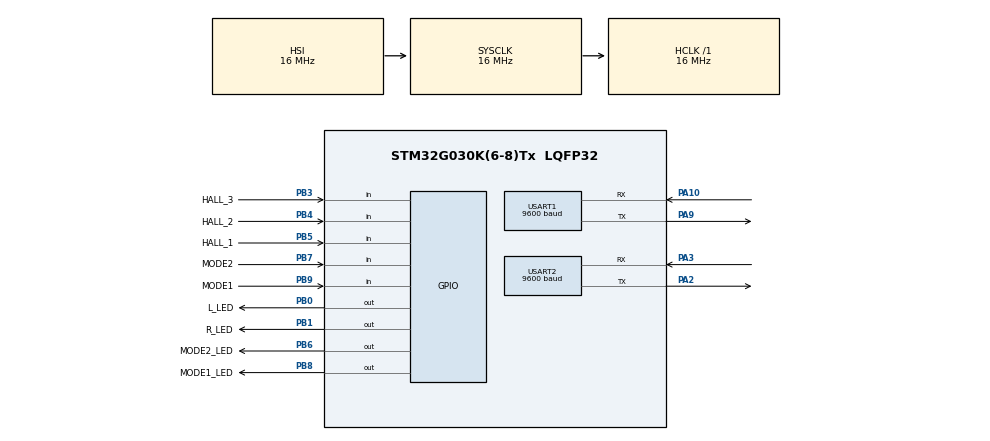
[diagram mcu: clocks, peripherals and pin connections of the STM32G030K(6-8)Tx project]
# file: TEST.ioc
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Mcu.Family=STM32G0
Mcu.Name=STM32G030K(6-8)Tx
Mcu.Package=LQFP32
NVIC.USART1_IRQn=true\:0\:0\:false\:false\:true\:true\:true\:true
NVIC.USART2_IRQn=true\:0\:0\:false\:false\:true\:true\:true\:true
PA10.Mode=Asynchronous
PA10.Signal=USART1_RX
PA13.Mode=Serial_Wire
PA13.Signal=SYS_SWDIO
PA14-BOOT0.Mode=Serial_Wire
PA14-BOOT0.Signal=SYS_SWCLK
PA2.Mode=Asynchronous
PA2.Signal=USART2_TX
PA3.Mode=Asynchronous
PA3.Signal=USART2_RX
PA9.Mode=Asynchronous
PA9.Signal=USART1_TX
PB0.GPIO_Label=L_LED
PB0.GPIO_PuPd=GPIO_NOPULL
PB0.Signal=GPIO_Output
PB1.GPIO_Label=R_LED
PB1.GPIO_PuPd=GPIO_PULLUP
PB1.Signal=GPIO_Output
PB3.GPIO_Label=HALL_3
PB3.GPIO_PuPd=GPIO_NOPULL
PB3.Signal=GPIO_Input
PB4.GPIO_Label=HALL_2
PB4.GPIO_PuPd=GPIO_NOPULL
PB4.Signal=GPIO_Input
PB5.GPIO_Label=HALL_1
PB5.GPIO_PuPd=GPIO_NOPULL
PB5.Signal=GPIO_Input
PB6.GPIO_Label=MODE2_LED
PB6.PinState=GPIO_PIN_RESET
PB6.Signal=GPIO_Output
PB7.GPIO_Label=MODE2
PB7.GPIO_PuPd=GPIO_PULLUP
PB7.Signal=GPIO_Input
PB8.GPIO_Label=MODE1_LED
PB8.GPIO_PuPd=GPIO_NOPULL
PB8.Signal=GPIO_Output
PB9.GPIO_Label=MODE1
PB9.GPIO_PuPd=GPIO_PULLUP
PB9.Signal=GPIO_Input
PC14-OSC32_IN\ (PC14).Mode=LSE-External-Oscillator
PC14-OSC32_IN\ (PC14).Signal=RCC_OSC32_IN
PC15-OSC32_OUT\ (PC15).Mode=LSE-External-Oscillator
PC15-OSC32_OUT\ (PC15).Signal=RCC_OSC32_OUT
ProjectManager.HeapSize=0x200
ProjectManager.StackSize=0x400
ProjectManager.TargetToolchain=STM32CubeIDE
RCC.AHBFreq_Value=16000000
RCC.CortexFreq_Value=16000000
RCC.EXTERNAL_CLOCK_VALUE=12288000
RCC.HCLKFreq_Value=16000000
RCC.HSE_VALUE=8000000
RCC.HSI_VALUE=16000000
RCC.SYSCLKFreq_VALUE=16000000
RCC.VCOOutputFreq_Value=128000000
USART1.BaudRate=9600
USART1.VirtualMode-Asynchronous=VM_ASYNC
USART2.BaudRate=9600
USART2.VirtualMode-Asynchronous=VM_ASYNC
board=custom

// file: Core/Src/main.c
/* USER CODE BEGIN Header */
/**
  ******************************************************************************
  * @file           : main.c
  * @brief          : Main program body
  ******************************************************************************
  * @attention
  *
  * Copyright (c) 2024 STMicroelectronics.
  * All rights reserved.
  *
  * This software is licensed under terms that can be found in the LICENSE file
  * in the root directory of this software component.
  * If no LICENSE file comes with this software, it is provided AS-IS.
  *
  ******************************************************************************
  */
/* USER CODE END Header */
#include "main.h"

/* USER CODE BEGIN PD */
#define MODE_1 HAL_GPIO_ReadPin(GPIOB,GPIO_PIN_9)
#define MODE_2 HAL_GPIO_ReadPin(GPIOB,GPIO_PIN_7)

#define HALL_1 HAL_GPIO_ReadPin(GPIOB,GPIO_PIN_5)
#define HALL_2 HAL_GPIO_ReadPin(GPIOB,GPIO_PIN_4)
#define HALL_3 HAL_GPIO_ReadPin(GPIOB,GPIO_PIN_3)

#define SET_LED_MODE1 HAL_GPIO_WritePin(GPIOB,GPIO_PIN_8,GPIO_PIN_RESET)
#define RESET_LED_MODE1 HAL_GPIO_WritePin(GPIOB,GPIO_PIN_8,GPIO_PIN_SET)

#define SET_LED_MODE2 HAL_GPIO_WritePin(GPIOB,GPIO_PIN_6,GPIO_PIN_RESET)
#define RESET_LED_MODE2 HAL_GPIO_WritePin(GPIOB,GPIO_PIN_6,GPIO_PIN_SET)

#define SET_LED_LEFT HAL_GPIO_WritePin(GPIOB,GPIO_PIN_0,GPIO_PIN_RESET)
#define RESET_LED_LEFT HAL_GPIO_WritePin(GPIOB,GPIO_PIN_0,GPIO_PIN_SET)

#define SET_LED_RIGHT HAL_GPIO_WritePin(GPIOB,GPIO_PIN_1,GPIO_PIN_RESET)
#define RESET_LED_RIGHT HAL_GPIO_WritePin(GPIOB,GPIO_PIN_1,GPIO_PIN_SET)

/* USER CODE END PD */

UART_HandleTypeDef huart1;
UART_HandleTypeDef huart2;

/* USER CODE BEGIN PV */
  uint8_t expectedData[] = {0x01, 0x02, 0x03, 0x04, 0x05 ,0x06 ,0x07 ,0x08 ,0x09 ,0x0A ,0x0B ,0x0C ,0x0D ,0x0E,0x0F};
  uint8_t receivedData=0;
  uint8_t fine = 0xFF;
  uint8_t error = 0xEE;
  uint8_t match = 0;
  uint8_t TXdata = 0x01;
  uint8_t data_ready = 0;
/* USER CODE END PV */

void SystemClock_Config(void);
static void MX_GPIO_Init(void);
static void MX_USART1_UART_Init(void);
static void MX_USART2_UART_Init(void);
/* USER CODE BEGIN PFP */
void HAL_UART_RxCpltCallback(UART_HandleTypeDef * huart){
  if(huart==&huart1)
  {
    for (int i = 0; i < sizeof(expectedData); i++)
         {
           if (receivedData == expectedData[i])
           {
             match = 1;
             break;
           }
         }

  if(match==1){
      HAL_UART_Transmit_IT(&huart1, &fine, 1);
    }
    else{
      HAL_UART_Transmit_IT(&huart1, &error, 1);
    }
  }
  /*-----------------------------------------*/
  if(huart==&huart2)
   {

     for (int i = 0; i < sizeof(expectedData); i++)
          {
            if (receivedData == expectedData[i])
            {
              match = 1;
              break;
            }
          }

   if(match==1){
       HAL_UART_Transmit_IT(&huart2, &fine, 1);
     }
     else{
       HAL_UART_Transmit_IT(&huart2, &error, 1);
     }
   }
}

//-----------------------------------------------------

	void func_R(uint8_t receivedData){//в одному кол беке все реалізувати через іф + кнопку

			for (int i = 0; i < sizeof(expectedData); i++){
				if(TXdata==expectedData[i]){
					HAL_UART_Transmit_IT(&huart2, &TXdata, 1);
				}
				TXdata++;
			}
		}

	/*if(
	 * кнопка нажата чи ні ){
		  for (int i = 0; i < sizeof(expectedData); i++){
		  				if(TXdata==expectedData[i]){
		  					HAL_UART_Transmit_IT(&huart2, &TXdata, 1);
		  				}
		  				TXdata++;
		  			}

	  }*/

/* USER CODE END PFP */

int main(void)
{

  /* MCU Configuration--------------------------------------------------------*/

  /* Reset of all peripherals, Initializes the Flash interface and the Systick. */
  HAL_Init();

  /* Configure the system clock */
  SystemClock_Config();

  /* Initialize all configured peripherals */
  MX_GPIO_Init();
  MX_USART1_UART_Init();
  MX_USART2_UART_Init();

  /* Infinite loop */
  /* USER CODE BEGIN WHILE */
  while (1)
  {
	  if(MODE_1==1){
	                SET_LED_MODE1;
	                SET_LED_LEFT;
	              }else{
	                RESET_LED_MODE1;
	                RESET_LED_LEFT;
	              }
	              if(MODE_2==1){
	                SET_LED_MODE2;
	                SET_LED_RIGHT;
	              }else{
	                RESET_LED_MODE2;
	                RESET_LED_RIGHT;
	              }
	              if((HALL_1==GPIO_PIN_RESET)||(HALL_2==GPIO_PIN_RESET)||(HALL_3==GPIO_PIN_RESET)){
	               RESET_LED_MODE1;
	                 RESET_LED_MODE2;

	              }else{
	                SET_LED_MODE1;
	                SET_LED_MODE2;
	              }

	              //UART one by one__________________________________________________
	            HAL_UART_Receive_IT(&huart1, &receivedData, 1);
	            HAL_UART_Receive_IT(&huart2, &receivedData, 1);

	            //UART by UART__________________________________________________
	            if(/*GPIO on */){
	            	HAL_UART_Transmit_IT(&huart1, &TXdata, 1);
	            }
	            HAL_UART_Receive_IT(&huart2, &receivedData, 1);
	            if(receivedData!=0){
	            	func_R(receivedData);
	            }

			  	  }
    /* USER CODE END WHILE */

  }

void SystemClock_Config(void)
{
  RCC_OscInitTypeDef RCC_OscInitStruct = {0};
  RCC_ClkInitTypeDef RCC_ClkInitStruct = {0};

  /** Configure the main internal regulator output voltage
  */
  HAL_PWREx_ControlVoltageScaling(PWR_REGULATOR_VOLTAGE_SCALE1);

  /** Initializes the RCC Oscillators according to the specified parameters
  * in the RCC_OscInitTypeDef structure.
  */
  RCC_OscInitStruct.OscillatorType = RCC_OSCILLATORTYPE_HSI;
  RCC_OscInitStruct.HSIState = RCC_HSI_ON;
  RCC_OscInitStruct.HSIDiv = RCC_HSI_DIV1;
  RCC_OscInitStruct.HSICalibrationValue = RCC_HSICALIBRATION_DEFAULT;
  RCC_OscInitStruct.PLL.PLLState = RCC_PLL_NONE;
  if (HAL_RCC_OscConfig(&RCC_OscInitStruct) != HAL_OK)
  {
    Error_Handler();
  }

  /** Initializes the CPU, AHB and APB buses clocks
  */
  RCC_ClkInitStruct.ClockType = RCC_CLOCKTYPE_HCLK|RCC_CLOCKTYPE_SYSCLK
                              |RCC_CLOCKTYPE_PCLK1;
  RCC_ClkInitStruct.SYSCLKSource = RCC_SYSCLKSOURCE_HSI;
  RCC_ClkInitStruct.AHBCLKDivider = RCC_SYSCLK_DIV1;
  RCC_ClkInitStruct.APB1CLKDivider = RCC_HCLK_DIV1;

  if (HAL_RCC_ClockConfig(&RCC_ClkInitStruct, FLASH_LATENCY_0) != HAL_OK)
  {
    Error_Handler();
  }
}

static void MX_USART1_UART_Init(void)
{

  huart1.Instance = USART1;
  huart1.Init.BaudRate = 9600;
  huart1.Init.WordLength = UART_WORDLENGTH_8B;
  huart1.Init.StopBits = UART_STOPBITS_1;
  huart1.Init.Parity = UART_PARITY_NONE;
  huart1.Init.Mode = UART_MODE_TX_RX;
  huart1.Init.HwFlowCtl = UART_HWCONTROL_NONE;
  huart1.Init.OverSampling = UART_OVERSAMPLING_16;
  huart1.Init.OneBitSampling = UART_ONE_BIT_SAMPLE_DISABLE;
  huart1.Init.ClockPrescaler = UART_PRESCALER_DIV1;
  huart1.AdvancedInit.AdvFeatureInit = UART_ADVFEATURE_NO_INIT;
  if (HAL_UART_Init(&huart1) != HAL_OK)
  {
    Error_Handler();
  }
  if (HAL_UARTEx_SetTxFifoThreshold(&huart1, UART_TXFIFO_THRESHOLD_1_8) != HAL_OK)
  {
    Error_Handler();
  }
  if (HAL_UARTEx_SetRxFifoThreshold(&huart1, UART_RXFIFO_THRESHOLD_1_8) != HAL_OK)
  {
    Error_Handler();
  }
  if (HAL_UARTEx_DisableFifoMode(&huart1) != HAL_OK)
  {
    Error_Handler();
  }

}

static void MX_USART2_UART_Init(void)
{

  huart2.Instance = USART2;
  huart2.Init.BaudRate = 9600;
  huart2.Init.WordLength = UART_WORDLENGTH_8B;
  huart2.Init.StopBits = UART_STOPBITS_1;
  huart2.Init.Parity = UART_PARITY_NONE;
  huart2.Init.Mode = UART_MODE_TX_RX;
  huart2.Init.HwFlowCtl = UART_HWCONTROL_NONE;
  huart2.Init.OverSampling = UART_OVERSAMPLING_16;
  huart2.Init.OneBitSampling = UART_ONE_BIT_SAMPLE_DISABLE;
  huart2.Init.ClockPrescaler = UART_PRESCALER_DIV1;
  huart2.AdvancedInit.AdvFeatureInit = UART_ADVFEATURE_NO_INIT;
  if (HAL_UART_Init(&huart2) != HAL_OK)
  {
    Error_Handler();
  }

}

static void MX_GPIO_Init(void)
{
  GPIO_InitTypeDef GPIO_InitStruct = {0};

  /* GPIO Ports Clock Enable */
  __HAL_RCC_GPIOB_CLK_ENABLE();
  __HAL_RCC_GPIOC_CLK_ENABLE();
  __HAL_RCC_GPIOA_CLK_ENABLE();

  /*Configure GPIO pin Output Level */
  HAL_GPIO_WritePin(GPIOB, L_LED_Pin|R_LED_Pin|MODE2_LED_Pin|MODE1_LED_Pin, GPIO_PIN_RESET);

  /*Configure GPIO pins : MODE1_Pin MODE2_Pin */
  GPIO_InitStruct.Pin = MODE1_Pin|MODE2_Pin;
  GPIO_InitStruct.Mode = GPIO_MODE_INPUT;
  GPIO_InitStruct.Pull = GPIO_PULLUP;
  HAL_GPIO_Init(GPIOB, &GPIO_InitStruct);

  /*Configure GPIO pins : L_LED_Pin MODE2_LED_Pin MODE1_LED_Pin */
  GPIO_InitStruct.Pin = L_LED_Pin|MODE2_LED_Pin|MODE1_LED_Pin;
  GPIO_InitStruct.Mode = GPIO_MODE_OUTPUT_PP;
  GPIO_InitStruct.Pull = GPIO_NOPULL;
  GPIO_InitStruct.Speed = GPIO_SPEED_FREQ_LOW;
  HAL_GPIO_Init(GPIOB, &GPIO_InitStruct);

  /*Configure GPIO pin : R_LED_Pin */
  GPIO_InitStruct.Pin = R_LED_Pin;
  GPIO_InitStruct.Mode = GPIO_MODE_OUTPUT_PP;
  GPIO_InitStruct.Pull = GPIO_PULLUP;
  GPIO_InitStruct.Speed = GPIO_SPEED_FREQ_LOW;
  HAL_GPIO_Init(R_LED_GPIO_Port, &GPIO_InitStruct);

  /*Configure GPIO pins : HALL_3_Pin HALL_2_Pin HALL_1_Pin */
  GPIO_InitStruct.Pin = HALL_3_Pin|HALL_2_Pin|HALL_1_Pin;
  GPIO_InitStruct.Mode = GPIO_MODE_INPUT;
  GPIO_InitStruct.Pull = GPIO_NOPULL;
  HAL_GPIO_Init(GPIOB, &GPIO_InitStruct);

}

void Error_Handler(void)
{
  __disable_irq();
  while (1)
  {
  }
}
